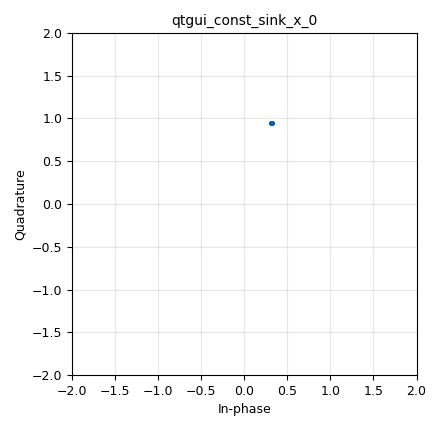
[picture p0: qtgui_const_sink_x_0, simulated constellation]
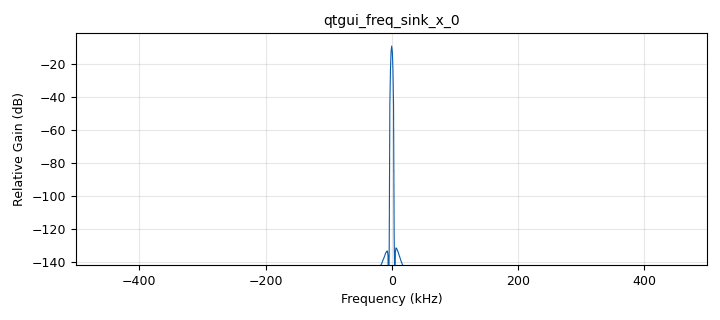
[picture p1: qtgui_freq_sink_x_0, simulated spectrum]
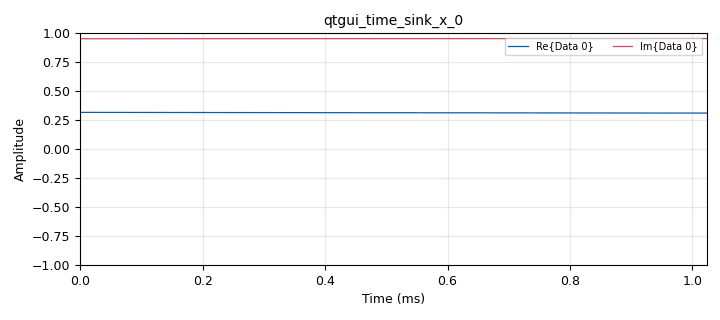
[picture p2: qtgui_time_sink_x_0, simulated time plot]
options:
  parameters:
    generate_options: qt_gui
    id: test
    output_language: python
    title: Not titled yet
  states: {}

blocks:
- name: freq
  id: variable_qtgui_range
  parameters:
    start: '-1000000'
    step: '1'
    stop: '1000000'
    value: '1'
  states: {}
- name: samp_rate
  id: variable
  parameters:
    value: '1000000'
  states: {}
- name: analog_sig_source_x_0
  id: analog_sig_source_x
  parameters:
    amp: '1'
    freq: freq
    offset: '0'
    phase: '0'
    samp_rate: samp_rate
    type: complex
    waveform: analog.GR_COS_WAVE
  states: {}
- name: blocks_throttle2_0
  id: blocks_throttle2
  parameters:
    samples_per_second: samp_rate
    type: complex
    vlen: freq
  states: {}
- name: qtgui_const_sink_x_0
  id: qtgui_const_sink_x
  parameters:
    size: '1024'
    type: complex
  states: {}
- name: qtgui_freq_sink_x_0
  id: qtgui_freq_sink_x
  parameters:
    autoscale: 'True'
    bw: samp_rate
    fc: '0'
    fftsize: '1024'
    type: complex
  states: {}
- name: qtgui_time_sink_x_0
  id: qtgui_time_sink_x
  parameters:
    size: '1024'
    srate: samp_rate
    type: complex
  states: {}

connections:
- [analog_sig_source_x_0, '0', blocks_throttle2_0, '0']
- [blocks_throttle2_0, '0', qtgui_const_sink_x_0, '0']
- [blocks_throttle2_0, '0', qtgui_freq_sink_x_0, '0']
- [blocks_throttle2_0, '0', qtgui_time_sink_x_0, '0']

metadata:
  file_format: 1
  grc_version: 3.10.10.0
